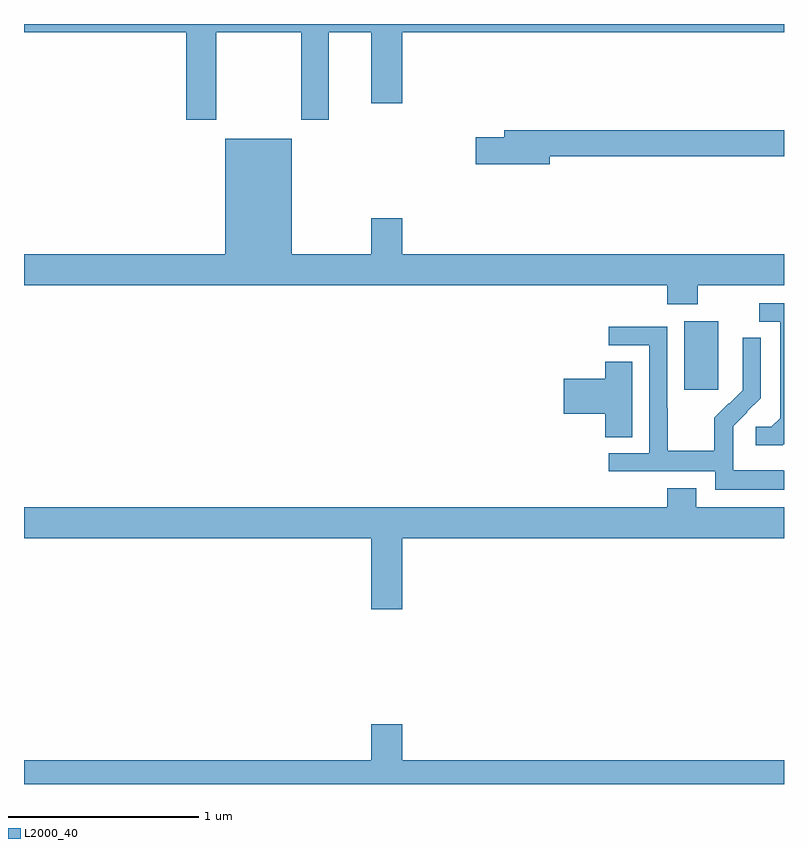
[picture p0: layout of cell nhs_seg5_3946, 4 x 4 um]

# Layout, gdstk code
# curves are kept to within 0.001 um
import gdstk
lib = gdstk.Library(unit=1e-6, precision=1e-09)
def R(c, l, rs):  # rectangles x0, y0, x1, y1
    for r in rs: c.add(gdstk.rectangle(r[:2], r[2:], *l))
def P(c, l, *ps):  # polygons
    for p in ps: c.add(gdstk.Polygon(p, *l))
L2000_40 = (2000, 40)

nhs_seg5_3946 = lib.new_cell('nhs_seg5_3946')
R(nhs_seg5_3946, L2000_40, [(346.475,858.873,346.654,859.234)])
P(nhs_seg5_3946, L2000_40, [(343,860.756),(343.853,860.756),(343.853,860.295),(344.013,860.295),(344.013,860.756),(344.458,860.756),(344.458,860.295),(344.605,860.295),(344.605,860.756),(344.828,860.756),(344.828,860.382),(344.992,860.382),(344.992,860.756),(347,860.756),(347,860.799),(343,860.799)],
  [(345.766,860.104),(347,860.104),(347,860.24),(345.527,860.24),(345.527,860.204),(345.378,860.204),(345.378,860.062),(345.766,860.062)],
  [(346.545,859.424),(347,859.424),(347,859.588),(344.992,859.588),(344.992,859.777),(344.828,859.777),(344.828,859.588),(344.41,859.588),(344.41,860.194),(344.06,860.194),(344.06,859.588),(343,859.588),(343,859.424),(346.385,859.424),(346.385,859.325),(346.545,859.325)],
  [(347,858.587),(347,859.329),(346.869,859.329),(346.869,859.233),(346.979,859.233),(346.979,858.725),(346.932,858.678),(346.851,858.678),(346.851,858.581),(346.994,858.581)],
  [(347,858.447),(346.997,858.447),(346.997,858.451),(346.734,858.451),(346.734,858.585),(346.732,858.585),(346.732,858.682),(346.878,858.83),(346.878,859.148),(346.782,859.148),(346.782,858.994),(346.784,858.994),(346.784,858.872),(346.713,858.801),(346.71,858.804),(346.633,858.727),(346.633,858.553),(346.389,858.553),(346.389,858.776),(346.386,858.776),(346.386,859.206),(346.077,859.206),(346.077,859.107),(346.29,859.107),(346.29,858.54),(346.077,858.54),(346.077,858.444),(346.638,858.444),(346.638,858.347),(347,858.347)],
  [(346.201,859.022),(346.058,859.022),(346.058,858.932),(345.84,858.932),(345.84,858.749),(346.058,858.749),(346.058,858.625),(346.201,858.625)],
  [(344.992,858.092),(347,858.092),(347,858.256),(346.537,858.256),(346.537,858.355),(346.385,858.355),(346.385,858.256),(343,858.256),(343,858.092),(344.828,858.092),(344.828,857.718),(344.992,857.718)],
  [(347,856.924),(344.992,856.924),(344.992,857.113),(344.828,857.113),(344.828,856.924),(343,856.924),(343,856.799),(347,856.799)])

lib.write_gds('nhs_seg5_3946.gds')
